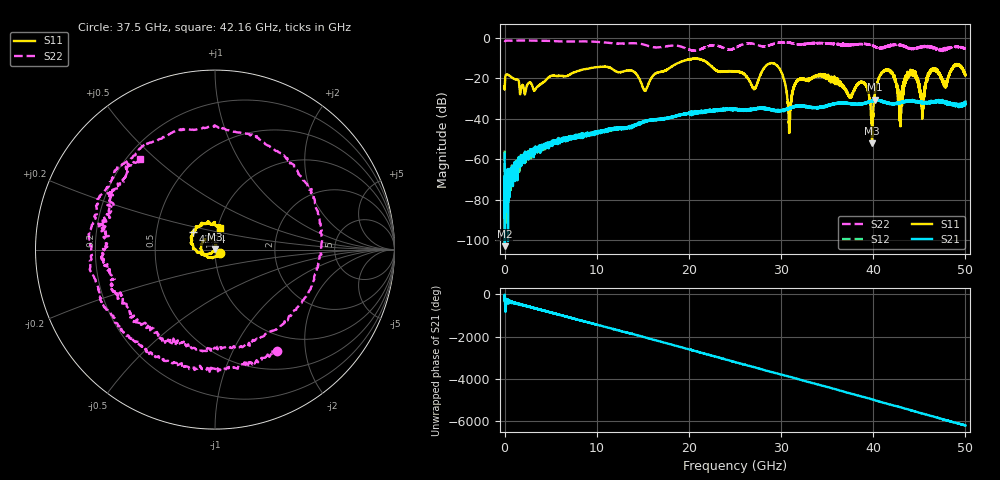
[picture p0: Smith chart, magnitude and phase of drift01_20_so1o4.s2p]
!Created with skrf (http://scikit-rf.org).
# Hz S RI R 50.0
!freq ReS11 ImS11 ReS21 ImS21 ReS12 ImS12 ReS22 ImS22
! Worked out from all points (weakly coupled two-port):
!   10001 points, 300 kHz to 50 GHz, reference 50 ohm
!   highest |S21| = -30.62 dB at 40.21 GHz (marker M1); lowest = -102.9 dB at 30.3 MHz (marker M2)
!   lowest |S11| = -52.2 dB at 39.87 GHz (marker M3), VSWR 1.00, Z = 49.8 + j0.117 ohm
!   |S11| at or under -10 dB: start of sweep to end of sweep
!   |S22| runs from -6.6 to -1.4 dB; largest |S21 - S12| = 0.0046
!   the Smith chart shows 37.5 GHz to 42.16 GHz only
!   S11 on the Smith chart (normalised r, x): 37.5 GHz: 1.05, -0.05; 41.24 GHz: 0.77, +0.16; 42.16 GHz: 1.03, +0.26
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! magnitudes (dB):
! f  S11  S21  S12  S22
! 300 kHz  -23.9  -57.2  -55.7  -2.2
! 30.3 MHz  -22.5  -102.9  -72.6  -1.8
! 8.335 GHz  -15.9  -47.1  -48.4  -1.8
! 16.67 GHz  -17.1  -40.2  -40.3  -4.8
! 25 GHz  -16.6  -35.3  -35.5  -5.1
! 27.1 GHz  -25.3  -35.2  -35.1  -3.1
! 29.41 GHz  -13.1  -35.9  -35.8  -2.7
! 30.91 GHz  -42.9  -35.0  -34.8  -2.5
! 31.66 GHz  -21.7  -33.6  -33.8  -3.2
! 33.34 GHz  -20.0  -34.9  -34.6  -2.7
! 37.5 GHz  -29.2  -32.4  -32.4  -3.6
! 38.95 GHz  -22.2  -32.5  -32.4  -3.1
! 39.87 GHz  -52.2  -31.2  -31.1  -3.8
! 40.21 GHz  -26.9  -30.6  -31.0  -4.4
! 41.24 GHz  -16.0  -31.8  -32.0  -4.3
! 41.67 GHz  -16.2  -32.2  -32.4  -4.5
! 42.16 GHz  -18.0  -32.5  -32.6  -3.7
! 42.91 GHz  -30.0  -32.3  -32.3  -3.6
! 44.07 GHz  -17.2  -31.1  -31.1  -5.4
! 45.31 GHz  -35.9  -32.1  -31.9  -4.4
! 46.42 GHz  -15.5  -31.9  -31.9  -4.8
! 50 GHz  -18.1  -31.5  -33.1  -5.4
